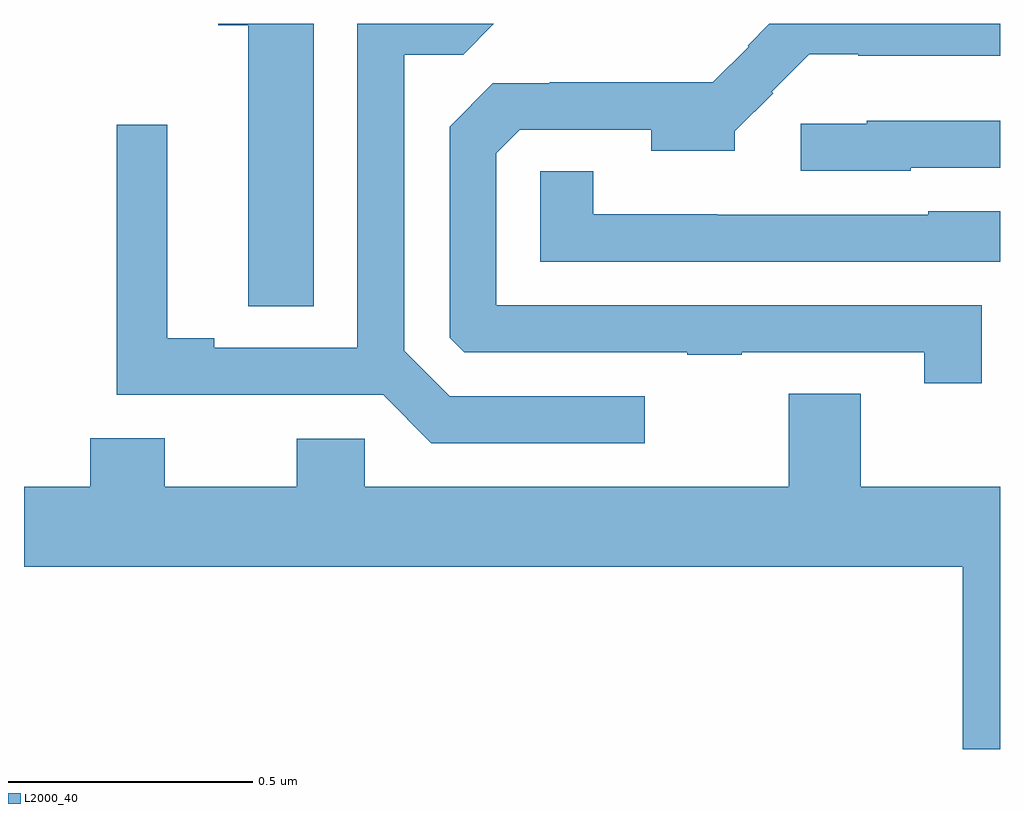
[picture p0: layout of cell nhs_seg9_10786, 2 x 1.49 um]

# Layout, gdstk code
import gdstk
lib = gdstk.Library(unit=1e-6, precision=1e-09)
def P(c, l, *ps):  # polygons
    for p in ps: c.add(gdstk.Polygon(p, *l))
L2000_40 = (2000, 40)

nhs_seg9_10786 = lib.new_cell('nhs_seg9_10786')
P(nhs_seg9_10786, L2000_40, [(247.594,1229.5),(247.398,1229.5),(247.398,1229.497),(247.46,1229.497),(247.46,1228.921),(247.594,1228.921)],
  [(248.963,1228.923),(247.968,1228.923),(247.968,1229.235),(248.016,1229.283),(248.285,1229.283),(248.285,1229.24),(248.456,1229.24),(248.456,1229.28),(248.535,1229.358),(248.532,1229.361),(248.609,1229.438),(248.71,1229.438),(248.71,1229.435),(249,1229.435),(249,1229.5),(248.527,1229.5),(248.483,1229.455),(248.485,1229.453),(248.411,1229.38),(248.077,1229.38),(248.077,1229.378),(247.961,1229.378),(247.872,1229.289),(247.872,1228.857),(247.902,1228.827),(248.359,1228.827),(248.359,1228.822),(248.471,1228.822),(248.471,1228.827),(248.845,1228.827),(248.845,1228.764),(248.963,1228.764)],
  [(248.272,1228.737),(247.872,1228.737),(247.779,1228.83),(247.779,1229.437),(247.9,1229.437),(247.963,1229.5),(247.683,1229.5),(247.683,1228.836),(247.39,1228.836),(247.39,1228.856),(247.294,1228.856),(247.294,1229.293),(247.19,1229.293),(247.19,1228.74),(247.736,1228.74),(247.835,1228.641),(248.272,1228.641)],
  [(248.817,1229.205),(249,1229.205),(249,1229.302),(248.727,1229.302),(248.727,1229.295),(248.592,1229.295),(248.592,1229.199),(248.817,1229.199)],
  [(249,1229.116),(248.853,1229.116),(248.853,1229.109),(248.421,1229.109),(248.421,1229.11),(248.167,1229.11),(248.167,1229.198),(248.058,1229.198),(248.058,1229.013),(249,1229.013)],
  [(248.715,1228.742),(248.567,1228.742),(248.567,1228.552),(247.698,1228.552),(247.698,1228.65),(247.559,1228.65),(247.559,1228.552),(247.288,1228.552),(247.288,1228.651),(247.136,1228.651),(247.136,1228.552),(247,1228.552),(247,1228.388),(248.924,1228.388),(248.924,1228.014),(249,1228.014),(249,1228.552),(248.715,1228.552)])

lib.write_gds('nhs_seg9_10786.gds')
